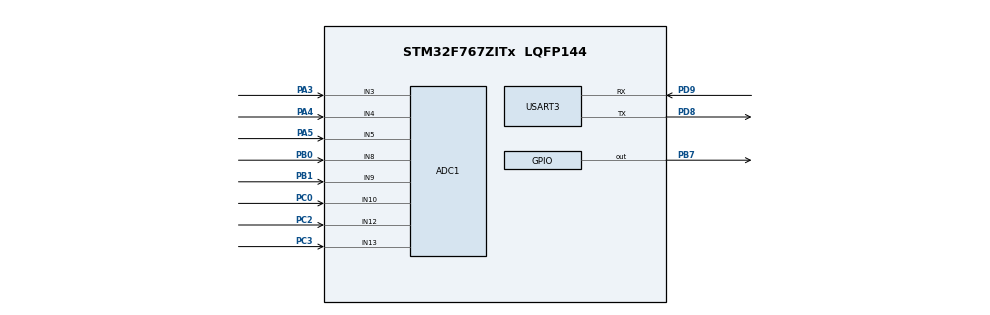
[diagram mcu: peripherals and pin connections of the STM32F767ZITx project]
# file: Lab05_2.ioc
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ADC1.Channel-0\#ChannelRegularConversion=ADC_CHANNEL_3
ADC1.Channel-2\#ChannelRegularConversion=ADC_CHANNEL_10
ADC1.Channel-3\#ChannelRegularConversion=ADC_CHANNEL_13
ADC1.Channel-4\#ChannelRegularConversion=ADC_CHANNEL_8
ADC1.Channel-5\#ChannelRegularConversion=ADC_CHANNEL_4
ADC1.Channel-6\#ChannelRegularConversion=ADC_CHANNEL_5
ADC1.Channel-7\#ChannelRegularConversion=ADC_CHANNEL_9
ADC1.Channel-8\#ChannelRegularConversion=ADC_CHANNEL_12
ADC1.ClockPrescaler=ADC_CLOCK_SYNC_PCLK_DIV6
ADC1.ContinuousConvMode=ENABLE
ADC1.DMAContinuousRequests=ENABLE
ADC1.DataAlign=ADC_DATAALIGN_RIGHT
ADC1.EOCSelection=ADC_EOC_SINGLE_CONV
ADC1.NbrOfConversion=8
ADC1.NbrOfConversionFlag=1
ADC1.Rank-0\#ChannelRegularConversion=1
ADC1.Rank-2\#ChannelRegularConversion=2
ADC1.Rank-3\#ChannelRegularConversion=3
ADC1.Rank-4\#ChannelRegularConversion=4
ADC1.Rank-5\#ChannelRegularConversion=5
ADC1.Rank-6\#ChannelRegularConversion=6
ADC1.Rank-7\#ChannelRegularConversion=7
ADC1.Rank-8\#ChannelRegularConversion=8
ADC1.SamplingTime-0\#ChannelRegularConversion=ADC_SAMPLETIME_480CYCLES
ADC1.SamplingTime-2\#ChannelRegularConversion=ADC_SAMPLETIME_480CYCLES
ADC1.SamplingTime-3\#ChannelRegularConversion=ADC_SAMPLETIME_480CYCLES
ADC1.SamplingTime-4\#ChannelRegularConversion=ADC_SAMPLETIME_480CYCLES
ADC1.SamplingTime-5\#ChannelRegularConversion=ADC_SAMPLETIME_480CYCLES
ADC1.SamplingTime-6\#ChannelRegularConversion=ADC_SAMPLETIME_480CYCLES
ADC1.SamplingTime-7\#ChannelRegularConversion=ADC_SAMPLETIME_480CYCLES
ADC1.SamplingTime-8\#ChannelRegularConversion=ADC_SAMPLETIME_480CYCLES
ADC1.ScanConvMode=ADC_SCAN_ENABLE
ADC1.master=1
Dma.ADC1.0.Direction=DMA_PERIPH_TO_MEMORY
Dma.ADC1.0.FIFOMode=DMA_FIFOMODE_ENABLE
Dma.ADC1.0.FIFOThreshold=DMA_FIFO_THRESHOLD_FULL
Dma.ADC1.0.Instance=DMA2_Stream0
Dma.ADC1.0.MemBurst=DMA_MBURST_SINGLE
Dma.ADC1.0.MemDataAlignment=DMA_MDATAALIGN_WORD
Dma.ADC1.0.MemInc=DMA_MINC_ENABLE
Dma.ADC1.0.Mode=DMA_CIRCULAR
Dma.ADC1.0.PeriphBurst=DMA_PBURST_SINGLE
Dma.ADC1.0.PeriphDataAlignment=DMA_PDATAALIGN_WORD
Dma.ADC1.0.PeriphInc=DMA_PINC_DISABLE
Dma.ADC1.0.Priority=DMA_PRIORITY_LOW
Dma.Request0=ADC1
Mcu.Family=STM32F7
Mcu.Name=STM32F767ZITx
Mcu.Package=LQFP144
NVIC.DMA2_Stream0_IRQn=true\:0\:0\:false\:false\:true\:false\:true\:true
NVIC.PriorityGroup=NVIC_PRIORITYGROUP_4
PA3.Signal=ADCx_IN3
PA4.Signal=ADCx_IN4
PA5.Signal=ADCx_IN5
PB0.Signal=ADCx_IN8
PB1.Signal=ADCx_IN9
PB7.Signal=GPIO_Output
PC0.Signal=ADCx_IN10
PC2.Signal=ADCx_IN12
PC3.Signal=ADCx_IN13
PD8.Mode=Asynchronous
PD8.Signal=USART3_TX
PD9.Mode=Asynchronous
PD9.Signal=USART3_RX
ProjectManager.HeapSize=0x200
ProjectManager.StackSize=0x400
ProjectManager.TargetToolchain=STM32CubeIDE
RCC.AHBCLKDivider=RCC_SYSCLK_DIV4
RCC.AHBFreq_Value=4000000
RCC.APB1Freq_Value=4000000
RCC.APB1TimFreq_Value=4000000
RCC.APB2CLKDivider=RCC_HCLK_DIV16
RCC.APB2Freq_Value=250000
RCC.APB2TimFreq_Value=500000
RCC.CortexFreq_Value=4000000
RCC.HCLKFreq_Value=4000000
RCC.HSE_VALUE=25000000
RCC.HSI_VALUE=16000000
RCC.I2C1Enable-ClockTree=false
RCC.I2C2Enable-ClockTree=false
RCC.I2C3Enable-ClockTree=false
RCC.I2C4Enable-ClockTree=false
RCC.LPTIM1Enable-ClockTree=false
RCC.LSE_VALUE=32768
RCC.PLLState-ClockTree=RCC_PLL_OFF
RCC.UART8Enable-ClockTree=false
RCC.USBFreq_Value=96000000
RCC.VCOOutputFreq_Value=192000000
SH.ADCx_IN10.0=ADC1_IN10,IN10
SH.ADCx_IN12.0=ADC1_IN12,IN12
SH.ADCx_IN13.0=ADC1_IN13,IN13
SH.ADCx_IN3.0=ADC1_IN3,IN3
SH.ADCx_IN4.0=ADC1_IN4,IN4
SH.ADCx_IN5.0=ADC1_IN5,IN5
SH.ADCx_IN8.0=ADC1_IN8,IN8
SH.ADCx_IN9.0=ADC1_IN9,IN9
USART3.VirtualMode-Asynchronous=VM_ASYNC
board=custom

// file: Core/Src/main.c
/* USER CODE BEGIN Header */
/**
  ******************************************************************************
  * @file           : main.c
  * @brief          : Main program body
  ******************************************************************************
  * @attention
  *
  * Copyright (c) 2023 STMicroelectronics.
  * All rights reserved.
  *
  * This software is licensed under terms that can be found in the LICENSE file
  * in the root directory of this software component.
  * If no LICENSE file comes with this software, it is provided AS-IS.
  *
  ******************************************************************************
  */
/* USER CODE END Header */
#include "main.h"

/* USER CODE BEGIN Includes */
#include "stdio.h"
/* USER CODE END Includes */

ADC_HandleTypeDef hadc1;
DMA_HandleTypeDef hdma_adc1;

UART_HandleTypeDef huart3;

void SystemClock_Config(void);
static void MPU_Initialize(void);
static void MPU_Config(void);
static void MX_GPIO_Init(void);
static void MX_DMA_Init(void);
static void MX_ADC1_Init(void);
static void MX_USART3_UART_Init(void);

/* USER CODE BEGIN 0 */
uint32_t dmaBuffer[8];
void printValue(char* str){
	while(__HAL_UART_GET_FLAG(&huart3,UART_FLAG_TC)==RESET){}
	HAL_UART_Transmit(&huart3, (uint8_t*) str,strlen(str),1000);
}
int average_8(int channel,int x){
	static int samples[8][8]={
			{0,0,0,0,0,0,0,0},
			{0,0,0,0,0,0,0,0},
			{0,0,0,0,0,0,0,0},
			{0,0,0,0,0,0,0,0},
			{0,0,0,0,0,0,0,0},
			{0,0,0,0,0,0,0,0},
			{0,0,0,0,0,0,0,0},
			{0,0,0,0,0,0,0,0},
	};
	static int index[8]={0,0,0,0,0,0,0,0};
	static int total[8]={0,0,0,0,0,0,0,0};
	int i = index[channel];
	total[channel] += x- samples[channel][i];
	samples[channel][i] = x;
	i = (i==7?0:i+1);
	index[channel] = i;
	return total[channel]>>3;

}
int average_16(int x){
	static int samples[16];
	static int i=0;
	static int total = 0;

	total += x- samples[i];
	samples[i] = x;
	i = (i==15?0:i+1);
	return total>>4;

}
void HAL_ADC_ConvHalfCpltCallback(ADC_HandleTypeDef* hadc){
	HAL_GPIO_WritePin(GPIOB,GPIO_PIN_7,GPIO_PIN_SET);
	printValue("LD2 ON\r\n");
}
void HAL_ADC_ConvCpltCallback(ADC_HandleTypeDef* hadc){
	HAL_GPIO_WritePin(GPIOB,GPIO_PIN_7,GPIO_PIN_RESET);
	printValue("LD2 OFF\r\n");
	char str[100] = "";
	for(int i = 0 ;i<8 ;i++){
		int32_t avg_val = average_8(i,dmaBuffer[i]);
		sprintf(str,"%s CH%d: %x",str,i,avg_val);
	}
	printValue(str);
	printValue("\r\n");
}
/* USER CODE END 0 */

int main(void)
{

  /* MCU Configuration--------------------------------------------------------*/

  /* Reset of all peripherals, Initializes the Flash interface and the Systick. */
  HAL_Init();

  /* MPU Configuration--------------------------------------------------------*/
  MPU_Config();

  /* Configure the system clock */
  SystemClock_Config();

  /* Initialize all configured peripherals */
  MX_GPIO_Init();
  MX_DMA_Init();
  MX_ADC1_Init();
  MX_USART3_UART_Init();
  /* USER CODE BEGIN 2 */
  HAL_ADC_Start_DMA(&hadc1,&dmaBuffer,8);
  /* USER CODE END 2 */

  /* Infinite loop */
  while (1)
  {

  }
}

void SystemClock_Config(void)
{
  RCC_OscInitTypeDef RCC_OscInitStruct = {0};
  RCC_ClkInitTypeDef RCC_ClkInitStruct = {0};

  /** Configure the main internal regulator output voltage
  */
  __HAL_RCC_PWR_CLK_ENABLE();
  __HAL_PWR_VOLTAGESCALING_CONFIG(PWR_REGULATOR_VOLTAGE_SCALE3);

  /** Initializes the RCC Oscillators according to the specified parameters
  * in the RCC_OscInitTypeDef structure.
  */
  RCC_OscInitStruct.OscillatorType = RCC_OSCILLATORTYPE_HSI;
  RCC_OscInitStruct.HSIState = RCC_HSI_ON;
  RCC_OscInitStruct.HSICalibrationValue = RCC_HSICALIBRATION_DEFAULT;
  RCC_OscInitStruct.PLL.PLLState = RCC_PLL_NONE;
  if (HAL_RCC_OscConfig(&RCC_OscInitStruct) != HAL_OK)
  {
    Error_Handler();
  }

  /** Initializes the CPU, AHB and APB buses clocks
  */
  RCC_ClkInitStruct.ClockType = RCC_CLOCKTYPE_HCLK|RCC_CLOCKTYPE_SYSCLK
                              |RCC_CLOCKTYPE_PCLK1|RCC_CLOCKTYPE_PCLK2;
  RCC_ClkInitStruct.SYSCLKSource = RCC_SYSCLKSOURCE_HSI;
  RCC_ClkInitStruct.AHBCLKDivider = RCC_SYSCLK_DIV4;
  RCC_ClkInitStruct.APB1CLKDivider = RCC_HCLK_DIV1;
  RCC_ClkInitStruct.APB2CLKDivider = RCC_HCLK_DIV16;

  if (HAL_RCC_ClockConfig(&RCC_ClkInitStruct, FLASH_LATENCY_0) != HAL_OK)
  {
    Error_Handler();
  }
}

static void MX_ADC1_Init(void)
{

  ADC_ChannelConfTypeDef sConfig = {0};

  /** Configure the global features of the ADC (Clock, Resolution, Data Alignment and number of conversion)
  */
  hadc1.Instance = ADC1;
  hadc1.Init.ClockPrescaler = ADC_CLOCK_SYNC_PCLK_DIV6;
  hadc1.Init.Resolution = ADC_RESOLUTION_12B;
  hadc1.Init.ScanConvMode = ADC_SCAN_ENABLE;
  hadc1.Init.ContinuousConvMode = ENABLE;
  hadc1.Init.DiscontinuousConvMode = DISABLE;
  hadc1.Init.ExternalTrigConvEdge = ADC_EXTERNALTRIGCONVEDGE_NONE;
  hadc1.Init.ExternalTrigConv = ADC_SOFTWARE_START;
  hadc1.Init.DataAlign = ADC_DATAALIGN_RIGHT;
  hadc1.Init.NbrOfConversion = 8;
  hadc1.Init.DMAContinuousRequests = ENABLE;
  hadc1.Init.EOCSelection = ADC_EOC_SINGLE_CONV;
  if (HAL_ADC_Init(&hadc1) != HAL_OK)
  {
    Error_Handler();
  }

  /** Configure for the selected ADC regular channel its corresponding rank in the sequencer and its sample time.
  */
  sConfig.Channel = ADC_CHANNEL_3;
  sConfig.Rank = ADC_REGULAR_RANK_1;
  sConfig.SamplingTime = ADC_SAMPLETIME_480CYCLES;
  if (HAL_ADC_ConfigChannel(&hadc1, &sConfig) != HAL_OK)
  {
    Error_Handler();
  }

  /** Configure for the selected ADC regular channel its corresponding rank in the sequencer and its sample time.
  */
  sConfig.Channel = ADC_CHANNEL_10;
  sConfig.Rank = ADC_REGULAR_RANK_2;
  if (HAL_ADC_ConfigChannel(&hadc1, &sConfig) != HAL_OK)
  {
    Error_Handler();
  }

  /** Configure for the selected ADC regular channel its corresponding rank in the sequencer and its sample time.
  */
  sConfig.Channel = ADC_CHANNEL_13;
  sConfig.Rank = ADC_REGULAR_RANK_3;
  if (HAL_ADC_ConfigChannel(&hadc1, &sConfig) != HAL_OK)
  {
    Error_Handler();
  }

  /** Configure for the selected ADC regular channel its corresponding rank in the sequencer and its sample time.
  */
  sConfig.Channel = ADC_CHANNEL_8;
  sConfig.Rank = ADC_REGULAR_RANK_4;
  if (HAL_ADC_ConfigChannel(&hadc1, &sConfig) != HAL_OK)
  {
    Error_Handler();
  }

  /** Configure for the selected ADC regular channel its corresponding rank in the sequencer and its sample time.
  */
  sConfig.Channel = ADC_CHANNEL_4;
  sConfig.Rank = ADC_REGULAR_RANK_5;
  if (HAL_ADC_ConfigChannel(&hadc1, &sConfig) != HAL_OK)
  {
    Error_Handler();
  }

  /** Configure for the selected ADC regular channel its corresponding rank in the sequencer and its sample time.
  */
  sConfig.Channel = ADC_CHANNEL_5;
  sConfig.Rank = ADC_REGULAR_RANK_6;
  if (HAL_ADC_ConfigChannel(&hadc1, &sConfig) != HAL_OK)
  {
    Error_Handler();
  }

  /** Configure for the selected ADC regular channel its corresponding rank in the sequencer and its sample time.
  */
  sConfig.Channel = ADC_CHANNEL_9;
  sConfig.Rank = ADC_REGULAR_RANK_7;
  if (HAL_ADC_ConfigChannel(&hadc1, &sConfig) != HAL_OK)
  {
    Error_Handler();
  }

  /** Configure for the selected ADC regular channel its corresponding rank in the sequencer and its sample time.
  */
  sConfig.Channel = ADC_CHANNEL_12;
  sConfig.Rank = ADC_REGULAR_RANK_8;
  if (HAL_ADC_ConfigChannel(&hadc1, &sConfig) != HAL_OK)
  {
    Error_Handler();
  }

}

static void MX_USART3_UART_Init(void)
{

  huart3.Instance = USART3;
  huart3.Init.BaudRate = 115200;
  huart3.Init.WordLength = UART_WORDLENGTH_8B;
  huart3.Init.StopBits = UART_STOPBITS_1;
  huart3.Init.Parity = UART_PARITY_NONE;
  huart3.Init.Mode = UART_MODE_TX_RX;
  huart3.Init.HwFlowCtl = UART_HWCONTROL_NONE;
  huart3.Init.OverSampling = UART_OVERSAMPLING_16;
  huart3.Init.OneBitSampling = UART_ONE_BIT_SAMPLE_DISABLE;
  huart3.AdvancedInit.AdvFeatureInit = UART_ADVFEATURE_NO_INIT;
  if (HAL_UART_Init(&huart3) != HAL_OK)
  {
    Error_Handler();
  }

}

static void MX_DMA_Init(void)
{

  /* DMA controller clock enable */
  __HAL_RCC_DMA2_CLK_ENABLE();

  /* DMA interrupt init */
  /* DMA2_Stream0_IRQn interrupt configuration */
  HAL_NVIC_SetPriority(DMA2_Stream0_IRQn, 0, 0);
  HAL_NVIC_EnableIRQ(DMA2_Stream0_IRQn);

}

static void MX_GPIO_Init(void)
{
  GPIO_InitTypeDef GPIO_InitStruct = {0};

  /* GPIO Ports Clock Enable */
  __HAL_RCC_GPIOC_CLK_ENABLE();
  __HAL_RCC_GPIOA_CLK_ENABLE();
  __HAL_RCC_GPIOB_CLK_ENABLE();
  __HAL_RCC_GPIOD_CLK_ENABLE();

  /*Configure GPIO pin Output Level */
  HAL_GPIO_WritePin(GPIOB, GPIO_PIN_7, GPIO_PIN_RESET);

  /*Configure GPIO pin : PB7 */
  GPIO_InitStruct.Pin = GPIO_PIN_7;
  GPIO_InitStruct.Mode = GPIO_MODE_OUTPUT_PP;
  GPIO_InitStruct.Pull = GPIO_NOPULL;
  GPIO_InitStruct.Speed = GPIO_SPEED_FREQ_LOW;
  HAL_GPIO_Init(GPIOB, &GPIO_InitStruct);

}

/* MPU Configuration */

void MPU_Config(void)
{
  MPU_Region_InitTypeDef MPU_InitStruct = {0};

  /* Disables the MPU */
  HAL_MPU_Disable();

  /** Initializes and configures the Region and the memory to be protected
  */
  MPU_InitStruct.Enable = MPU_REGION_ENABLE;
  MPU_InitStruct.Number = MPU_REGION_NUMBER0;
  MPU_InitStruct.BaseAddress = 0x0;
  MPU_InitStruct.Size = MPU_REGION_SIZE_4GB;
  MPU_InitStruct.SubRegionDisable = 0x87;
  MPU_InitStruct.TypeExtField = MPU_TEX_LEVEL0;
  MPU_InitStruct.AccessPermission = MPU_REGION_NO_ACCESS;
  MPU_InitStruct.DisableExec = MPU_INSTRUCTION_ACCESS_DISABLE;
  MPU_InitStruct.IsShareable = MPU_ACCESS_SHAREABLE;
  MPU_InitStruct.IsCacheable = MPU_ACCESS_NOT_CACHEABLE;
  MPU_InitStruct.IsBufferable = MPU_ACCESS_NOT_BUFFERABLE;

  HAL_MPU_ConfigRegion(&MPU_InitStruct);
  /* Enables the MPU */
  HAL_MPU_Enable(MPU_PRIVILEGED_DEFAULT);

}

void Error_Handler(void)
{
  __disable_irq();
  while (1)
  {
  }
}
